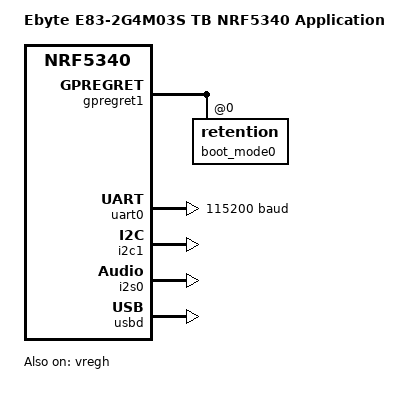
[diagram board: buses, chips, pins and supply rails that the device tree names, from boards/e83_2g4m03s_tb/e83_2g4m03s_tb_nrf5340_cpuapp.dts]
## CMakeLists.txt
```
# SPDX-License-Identifier: Apache-2.0

cmake_minimum_required(VERSION 3.20.0)

find_package(Zephyr REQUIRED HINTS $ENV{ZEPHYR_BASE})
project(le_audio_receiver)

if(NOT CONFIG_SOC_NRF54L15_CPUAPP)
  message(FATAL_ERROR "LE Audio Receiver supports only nRF54L15 cpuapp")
endif()

target_sources(app PRIVATE
  src/main.c
  src/app_lifecycle.c
  src/bt_bap.c
  src/bt_audio_ltv_guard.c
  src/bt_pairing_policy.c
  src/audio_decode.c
  src/audio_stream_session.c
  src/audio_i2s.c
  src/audio_drift.c
  src/audio_rate_convert.c
  src/audio_modea.c
  src/audio_iso_seq.c
  src/audio_stats.c
  src/audio_volume.c
  src/audio_timing_math.c
  src/stream_lifecycle.c
  src/audio_offload.c
)
target_link_options(app INTERFACE -Wl,--wrap=bt_audio_data_parse)

zephyr_sources_ifdef(CONFIG_AUDIO_PERF_MEASUREMENT src/audio_perf.c)

zephyr_sources_ifdef(CONFIG_HIL_HCI_REMOVE_ISO_PATH_TRACE src/hci_remove_iso_path_trace.c)

if(CONFIG_HIL_SDC_HCI_REMOVE_ISO_PATH_TRACE)
  target_sources(app PRIVATE src/sdc_hci_remove_iso_path_trace.c)
  target_link_options(app INTERFACE
    -Wl,--wrap=sdc_hci_cmd_le_remove_iso_data_path
    -Wl,--wrap=hci_internal_msg_get
    -Wl,--wrap=hci_internal_cmd_put
    -Wl,--wrap=multithreading_lock_release
    -Wl,--wrap=k_work_submit_to_queue
  )
  if(CONFIG_HIL_SDC_HCI_REMOVE_ISO_PATH_TRACE_SCHEDULER_UNLOCK)
    target_link_options(app INTERFACE
      -Wl,--wrap=k_sched_unlock
      -Wl,--wrap=z_impl_k_yield
    )
  endif()
  if(CONFIG_HIL_SDC_HCI_REMOVE_ISO_PATH_TRACE_RECEIVE_DISPOSITION)
    target_link_options(app INTERFACE
      -Wl,--wrap=bt_buf_get_evt
      -Wl,--wrap=bt_buf_get_rx
    )
  endif()
  if(CONFIG_HIL_SDC_HCI_REMOVE_ISO_PATH_TRACE_ISO_RX_LIFETIME)
    target_link_options(app INTERFACE
      -Wl,--wrap=net_buf_unref
    )
    if(CONFIG_HIL_SDC_HCI_REMOVE_ISO_PATH_TRACE_ISO_RX_LIFETIME_DISPOSITION)
      target_link_options(app INTERFACE
        -Wl,--wrap=bt_conn_recv
      )
      if(CONFIG_HIL_SDC_HCI_REMOVE_ISO_PATH_TRACE_ISO_RX_LIFETIME_TX_NOTIFY_FLUSH)
        target_link_options(app INTERFACE
          -Wl,--wrap=k_work_flush
        )
        if(CONFIG_HIL_SDC_HCI_REMOVE_ISO_PATH_TRACE_ISO_RX_LIFETIME_TX_NOTIFY_FLUSH_SEMAPHORE)
          target_link_options(app INTERFACE
            -Wl,--wrap=z_impl_k_sem_take
          )
          if(CONFIG_HIL_SDC_HCI_REMOVE_ISO_PATH_TRACE_ISO_RX_LIFETIME_TX_NOTIFY_FLUSH_SEMAPHORE_PEND)
            target_link_options(app INTERFACE
              -Wl,--wrap=z_pend_curr
            )
            if(CONFIG_HIL_SDC_HCI_REMOVE_ISO_PATH_TRACE_ISO_RX_LIFETIME_TX_NOTIFY_FLUSH_SEMAPHORE_PEND_SCHED_GIVE)
              target_link_options(app INTERFACE
                -Wl,--wrap=z_impl_k_sem_give
              )
            endif()
          endif()
        endif()
      endif()
    endif()
  endif()
endif()

zephyr_sources_ifdef(CONFIG_AUDIO_RESAMPLER_ASRC_LINEAR src/audio_asrc.c)
zephyr_sources_ifdef(CONFIG_AUDIO_CLOCK_ACTUATOR_NONE src/audio_clock_actuator_none.c)
zephyr_sources_ifdef(CONFIG_SOC_NRF54L15 src/audio_timing_nrf54.c)
zephyr_sources_ifdef(CONFIG_SHELL src/audio_shell.c)
zephyr_sources_ifdef(CONFIG_SHELL src/bt_shell.c)
zephyr_sources_ifdef(CONFIG_USER_PAIRING_CONTROL src/pairing_mode.c)
zephyr_sources_ifdef(CONFIG_USER_PAIRING_CONTROL src/bt_bap_pairing_adapter.c)
zephyr_sources_ifdef(CONFIG_USER_PAIRING_INPUT src/user_pairing_io.c)
# flpr_shell.c needs both SHELL and the nRF54L15 FLPR stack;
# zephyr_sources_ifdef accepts a single condition, so use an explicit
# if() with target_sources for the two-condition gate.
if(CONFIG_SHELL AND CONFIG_SOC_NRF54L15)
  target_sources(app PRIVATE src/flpr_shell.c)
endif()
zephyr_sources_ifdef(CONFIG_AUDIO_ACCEPTANCE_DIAGNOSTICS src/flpr_acceptance_shell.c)
# FLPR acceptance orchestration (ring test, stalls, stale produce,
# stress, fault hang, gates 1-6) — compiled only with the acceptance
# diagnostics config.  The shared control-ACK engine is production-neutral
# (used by the core coordinated reset) and compiles on every nRF54L15
# build, exactly like flpr_ring_mgr.c.
zephyr_sources_ifdef(CONFIG_AUDIO_ACCEPTANCE_DIAGNOSTICS src/flpr_acceptance.c)
zephyr_sources_ifdef(CONFIG_SOC_NRF54L15 src/flpr_control_ack.c)
zephyr_sources_ifdef(CONFIG_SOC_NRF54L15 src/flpr_handshake.c)
zephyr_sources_ifdef(CONFIG_SOC_NRF54L15 src/flpr_ring.c)
zephyr_sources_ifdef(CONFIG_SOC_NRF54L15 src/flpr_cache.c)
zephyr_sources_ifdef(CONFIG_SOC_NRF54L15 src/flpr_ring_mgr.c)
zephyr_sources_ifdef(CONFIG_SOC_NRF54L15 src/flpr_runtime.c)

# LSP compile-database link (R8/R9 clangd work): expose this image's
# compile_commands.json at the repo root for clangd's closest-ancestor
# discovery.  Guarded on CONFIG_SOC_NRF54L15 so only the production
# receiver target owns the root link.  file(CREATE_LINK) is idempotent; a
# reconfigure (--pristine included) re-creates it.  Other images create
# their own links in their app CMakeLists; BSim and tests/unit links
# are maintained by scripts/gen-lsp-links.sh (builds live outside the
# repo or in ephemeral dirs).
if(CONFIG_SOC_NRF54L15)
  file(CREATE_LINK
       "${CMAKE_BINARY_DIR}/compile_commands.json"
       "${CMAKE_CURRENT_SOURCE_DIR}/compile_commands.json"
       SYMBOLIC)
endif()

zephyr_library_include_directories(${ZEPHYR_BASE}/samples/bluetooth)
```

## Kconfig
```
mainmenu "LE Audio Receiver"

config INFO_REPORTING_INTERVAL
	int "Number of SDUs between log reports"
	default 0
	help
	  Set to 0 to disable periodic logging to avoid UART spam.

config BT_AUDIO_VOL_DEFAULT
	int "Default VCP volume level (0-255)"
	default 195
	range 0 255
	depends on BT_VCP_VOL_REND
	help
	  Initial volume applied by the VCP Volume Renderer at startup.
	  195 is approximately 76% of full scale.

config AUDIO_I2S_OUTPUT_SAMPLE_RATE_HZ
	int "Actual I2S output sample rate"
	default 48000
	range 1 192000
	help
	  Actual I2S LRCK frequency in Hz. The hardware divider may not
	  produce exactly 48000 (e.g. PCLK32M gives ~47619). Set this to
	  the measured hardware rate so the rate converter can match
	  decoder output to drain rate. The I2S config frame_clk_freq
	  stays at 48000 (the nominal requested rate).

config AUDIO_I2S_WRITE_TIMEOUT_MS
	int "I2S TX write timeout (ms)"
	default 0
	range 0 100
	help
	  This value bounds two independent backpressure points. The
	  struct i2s_config.timeout field bounds one i2s_write() when the TX
	  descriptor queue is full. Primary PCM slab allocation uses this
	  timeout only after DMA START and only in the started path. 0 means
	  no wait. Startup pre-fill and repeat fallback slab allocations always
	  use no wait. K_FOREVER is never used.

choice AUDIO_RESAMPLER
	prompt "Audio resampler"
	default AUDIO_RESAMPLER_ASRC_LINEAR
	help
	  Data-path resampler between decoder output (48 kHz) and I2S
	  drain. ASRC_LINEAR pairs with AUDIO_CLOCK_ACTUATOR_NONE.

config AUDIO_RESAMPLER_ASRC_LINEAR
	bool "Linear ASRC"
	help
	  Stateful cross-block fixed-point linear-interpolation stereo
	  ASRC.  Consumes drift-controller ppm as source_step correction.
	  Production path for nRF54L15.  Must pair with
	  AUDIO_CLOCK_ACTUATOR_NONE (ASRC handles the data path; no
	  physical actuator exists on this platform).
endchoice

choice AUDIO_CLOCK_ACTUATOR
	prompt "Audio clock actuator"
	default AUDIO_CLOCK_ACTUATOR_NONE

config AUDIO_CLOCK_ACTUATOR_NONE
	bool "None (data-path only)"
	help
	  No physical clock actuator.  Controller ppm is consumed by the
	  data-path resampler (ASRC_LINEAR).  Used on nRF54L15.
endchoice

config AUDIO_DRIFT_OUTPUT_CLAMP
	int "Controller output clamp (±ppm)"
	default 2000
	range 1 3000
	help
	  Maximum absolute ppm output from the PI clock recovery controller.
	  Default 2000 ppm for nRF54L15 ASRC, paired with the phase
	  integral clamp for headroom around the measured PCLK offset.

config AUDIO_DRIFT_PHASE_INTEGRAL_CLAMP
	int "Phase integral clamp (±ppm)"
	default 150
	range 1 2000
	help
	  Maximum absolute ppm the phase integral term can contribute.
	  Default 150 ppm so phase authority does not consume all
	  headroom around the measured PCLK offset.

config AUDIO_PERF_MEASUREMENT
	bool "Audio performance instrumentation"
	default n
	help
	  Low-overhead cycle and queue measurement for LC3 decode, volume,
	  sink push, and ISO receive paths.  Compiles to static inline
	  no-ops when disabled.  Exposed through "audio perf" shell command.

config AUDIO_PERF_DEADLINE_US
	int "Per-path deadline threshold in microseconds"
	default 10000
	depends on AUDIO_PERF_MEASUREMENT
	help
	  Deadline for per-path overrun counting.  Converted to CPU cycles
	  at runtime via k_us_to_cyc_ceil32().  Default 10000 us = 10 ms.
	  Works correctly across all platforms and native_sim.

config AUDIO_ACCEPTANCE_DIAGNOSTICS
	bool "FLPR acceptance diagnostics shell commands"
	default n
	depends on SOC_NRF54L15 && SHELL
	help
	  Gate the FLPR acceptance-harness shell commands (flpr ring *,
	  flpr stress, flpr hang) behind an explicit diagnostics option so
	  normal audio diagnostics never compile the acceptance harness.
	  Enabled in boards/nrf54l15dk_nrf54l15_cpuapp.conf. The FLPR-image
	  fault-handler gating is the separate
	  CONFIG_FLPR_ACCEPTANCE_DIAGNOSTICS option.

config HIL_BAP_ENABLE_TRACE
	bool "HIL BAP enable callback trace"
	default n
	depends on SOC_NRF54L15 && BT && LOG
	help
	  Temporary nRF54L15 HIL-only marker after the receiver stream enabled
	  callback returns from bt_bap_stream_start(). It records the stream slot
	  and return code for one pre-stream diagnostic branch. Keep disabled in
	  normal builds. It does not establish peer delivery, a root cause, or a
	  production repair.

config HIL_RX_TIMING_TRACE
	bool "HIL receiver RX delivery timing trace"
	default n
	depends on SOC_NRF54L15 && BT && BT_ISO && LOG
	help
	  Temporary nRF54L15 HIL-only diagnostic. Logs each ISO RX callback's
	  disposition and timing for the first N callbacks and then one
	  summary line per second of wall time: counts of valid/lost/error
	  callbacks and the receiver-clock timestamp of the last valid SDU.
	  Keep disabled in normal builds. It does not establish a root cause
	  or a repair.

config HIL_HCI_REMOVE_ISO_PATH_TRACE
	bool "HIL callback-timed HCI Remove ISO Path trace"
	default n
	depends on SOC_NRF54L15 && BT && LOG_RUNTIME_FILTERING
	help
	  Temporary HIL-only diagnostic. Arms the bt_hci_core and
	  bt_sdc_hci_driver runtime log sources at lc3_disable(). Keep this
	  option disabled in normal builds.

config HIL_SDC_HCI_REMOVE_ISO_PATH_TRACE
	bool "Temporary HIL-only SDC LE Remove ISO Data Path wrapper trace"
	default n
	depends on SOC_NRF54L15 && BT && BT_ISO && LOG
	depends on !HIL_HCI_REMOVE_ISO_PATH_TRACE
	help
	  Temporary HIL-only diagnostic. Wrap the SDC LE Remove ISO Data Path
	  call and emit low-volume entry and return markers for nRF54L15 HIL.
	  Keep this option disabled in normal builds. It cannot coexist with
	  the callback-timed HCI Remove ISO Path trace.

choice HIL_SDC_HCI_REMOVE_ISO_PATH_TRACE_PROBE
	prompt "SDC LE Remove ISO Data Path trace probe"
	default HIL_SDC_HCI_REMOVE_ISO_PATH_TRACE_WORK_STATE_SNAPSHOT
	depends on HIL_SDC_HCI_REMOVE_ISO_PATH_TRACE

config HIL_SDC_HCI_REMOVE_ISO_PATH_TRACE_WORK_STATE_SNAPSHOT
	bool "Work-state snapshot"
	help
	  Preserve the delayed MPSL work-state snapshot used by the existing
	  callback-timed HIL trace.

config HIL_SDC_HCI_REMOVE_ISO_PATH_TRACE_SCHEDULER_UNLOCK
	bool "Scheduler unlock"
	help
	  Record the sender thread after target receive-work submission and
	  trace its next scheduler unlock. The state marker records only MPSL
	  work-queue switch-ins observed while control is inside that exact
	  wrapped unlock window. A positive switch count does not prove that
	  the receive handler fetched the command. This probe must not schedule
	  any additional work.

config HIL_SDC_HCI_REMOVE_ISO_PATH_TRACE_RECEIVE_DISPOSITION
	bool "Receive disposition"
	help
	  Temporary HIL-only diagnostic. Record target-owned receive disposition
	  in the MPSL receive work context, without making a root-cause claim.
	  Normal builds keep this diagnostic disabled.
endchoice

config HIL_SDC_HCI_REMOVE_ISO_PATH_TRACE_ISO_RX_LIFETIME
	bool "ISO RX lifetime"
	default n
	depends on HIL_SDC_HCI_REMOVE_ISO_PATH_TRACE_RECEIVE_DISPOSITION
	depends on !NET_BUF_LOG
	help
	  Temporary nRF54L15 HIL-only diagnostic. Track host ISO RX
	  allocation and final-release occupancy. Requires the receive-
	  disposition trace and relies on ordinary net_buf_unref linkage, so
	  NET_BUF_LOG must remain off. Normal builds keep this diagnostic
	  disabled.

config HIL_SDC_HCI_REMOVE_ISO_PATH_TRACE_ISO_RX_LIFETIME_DISPOSITION
	bool "ISO RX lifetime disposition"
	default n
	depends on HIL_SDC_HCI_REMOVE_ISO_PATH_TRACE_ISO_RX_LIFETIME
	help
	  Temporary nRF54L15 HIL-only diagnostic. Record bounded host-dispatch
	  and app-callback progression for tracked ISO RX buffers at lifetime
	  snapshots. Wrap internal bt_conn_recv only for this exact NCS build.
	  This does not establish buffer ownership or queue location. Normal
	  builds keep this diagnostic disabled.

config HIL_SDC_HCI_REMOVE_ISO_PATH_TRACE_ISO_RX_LIFETIME_TX_NOTIFY_FLUSH
	bool "ISO RX lifetime TX-notify flush progression"
	default n
	depends on HIL_SDC_HCI_REMOVE_ISO_PATH_TRACE_ISO_RX_LIFETIME_DISPOSITION
	help
	  Temporary nRF54L15 HIL-only diagnostic. Observe k_work_flush()
	  while an HIL diagnostic bt_conn_recv() context is live for tracked
	  ISO RX buffers. This does not establish a work owner, blocking cause,
	  or repair. Normal builds keep this diagnostic disabled.

config HIL_SDC_HCI_REMOVE_ISO_PATH_TRACE_ISO_RX_LIFETIME_TX_NOTIFY_FLUSH_SEMAPHORE
	bool "ISO RX lifetime TX-notify flush semaphore progression"
	default n
	depends on HIL_SDC_HCI_REMOVE_ISO_PATH_TRACE_ISO_RX_LIFETIME_TX_NOTIFY_FLUSH
	help
	  Temporary nRF54L15 HIL-only diagnostic. Observe entry and return of the
	  exact matching generated z_impl_k_sem_take() reached by the scoped
	  k_work_flush() call. This does not establish that the semaphore pended,
	  identify work ownership, or authorize a repair. Normal builds keep this
	  diagnostic disabled.

config HIL_SDC_HCI_REMOVE_ISO_PATH_TRACE_ISO_RX_LIFETIME_TX_NOTIFY_FLUSH_SEMAPHORE_PEND
	bool "ISO RX lifetime TX-notify flush semaphore pend progression"
	default n
	depends on HIL_SDC_HCI_REMOVE_ISO_PATH_TRACE_ISO_RX_LIFETIME_TX_NOTIFY_FLUSH_SEMAPHORE
	help
	  Temporary nRF54L15 HIL-only diagnostic. Observe entry and return of the
	  exact matching z_pend_curr() wait queue selected after the scoped flusher
	  semaphore path. This does not establish a completed pend, work owner,
	  blocking cause, deadlock, or a production repair. Normal builds keep this
	  diagnostic disabled.

config HIL_SDC_HCI_REMOVE_ISO_PATH_TRACE_ISO_RX_LIFETIME_TX_NOTIFY_FLUSH_SEMAPHORE_PEND_SCHED_GIVE
	bool "ISO RX lifetime TX-notify flush semaphore pend scheduler and give progression"
	default n
	depends on HIL_SDC_HCI_REMOVE_ISO_PATH_TRACE_ISO_RX_LIFETIME_TX_NOTIFY_FLUSH_SEMAPHORE_PEND
	depends on TRACING_USER
	depends on TRACING_THREAD
	help
	  Temporary nRF54L15 HIL-only diagnostic. Observe only the H38-scoped user
	  scheduler-pend hook after a thread is marked pending, plus entry to the
	  exact captured flusher semaphore's generated give implementation. This
	  explicitly excludes wait-queue insertion, work ownership or execution,
	  wake completion, root cause, and repair claims. Normal builds keep this
	  diagnostic disabled.

# ── FLPR ASRC offload ──────────────────────────────────────────────

config AUDIO_OFFLOAD_ASRC
	bool "FLPR ASRC offload (nRF54L15 only)"
	default y
	depends on AUDIO_RESAMPLER_ASRC_LINEAR && SOC_NRF54L15
	help
	  Route decoded PCM through FLPR ASRC processing.  On success the
	  FLPR-processed output replaces the cpuapp ASRC; on any fault
	  the cpuapp ASRC runs as fallback with no audio drop.

	  Requires CONFIG_SOC_NRF54L15 + AUDIO_RESAMPLER_ASRC_LINEAR.

config AUDIO_OFFLOAD_ASRC_VERIFY
	bool "Shadow-verify FLPR ASRC against cpuapp ASRC"
	default n
	depends on AUDIO_OFFLOAD_ASRC
	help
	  After every FLPR ASRC round trip, run the identical cpuapp
	  ASRC from the same pre-state and ppm input into a static
	  481-frame buffer, then compare return code, frame count,
	  every sample, and post-state.

	  Mismatch records a verify fault, poisons offload, and returns
	  error with caller output untouched.  This adds ~1924 bytes of
	  static buffer and one cpuapp ASRC call per 10 ms block (≈13 klx
	  of fixed-point arithmetic).

	  Production builds must disable this option.  Development and
	  acceptance testing enable it for cross-validation.

config AUDIO_MODEA_MAX_FRAME_OCTETS
	int "Mode A pending frame block size (octets per mono frame)"
	default 120
	range 20 240
	help
	  Bounded compressed-SDU buffer size for one Mode A half frame
	  block held pending by the Mode A event assembler (audio_modea).
	  The receiver advertises 20..120 octets per frame at 48 kHz and
	  rejects any larger validated shape, so 120 covers every accepted
	  Mode A mono configuration; the range ceiling exists only so the
	  option can be raised without a code change.

config AUDIO_MODEA_PENDING_DEPTH
	int "Mode A pending halves per channel (fixed-depth queue)"
	default 2
	range 1 4
	help
	  Maximum unresolved half events buffered per Mode A channel by
	  the event assembler.  Depth 2 covers the measured <=1-event
	  cross-CIS callback skew plus single-SDU losses and a one-event
	  loss burst on one channel while the other keeps delivering.  A
	  third concurrent unresolved event on one channel (the other
	  channel stalled >=2 events) overflows: the oldest entry is
	  dropped and counted in the assembler stats (never silent).
	  Bounded static state; no heap.

config AUDIO_ISO_SEQ_MAX_CONCEAL
	int "Per-CIS omission concealment bound (omitted SDUs/events per delivered callback)"
	default 8
	range 1 64
	help
	  Shared bound for sequence- and timestamp-detected ISO omissions:
	  maximum SDUs/events concealed as PLC per delivered callback when
	  the ISO stack omits callbacks for lost events (historically observed
	  on the retired nRF5340 SW Split controller: no VALID and no LOST
	  callback for some lost events; not the active platform).
	  audio_iso_seq tracks each CIS's delivered
	  HCI packet sequence numbers and reports the omitted count when
	  the next callback's Packet_Sequence_Number jumps; audio_iso_cadence
	  tracks delivered ISO timestamps and reports the omitted count
	  when the timestamp advances by more than the SDU interval.  The
	  timestamp-cadence grid classification uses a clock/span-scaled
	  tolerance, not a fixed value: a 32 us base (one 32768 Hz tick
	  plus capture quantization) plus a combined worst-case SCA drift
	  budget (1000 ppm) over the spanned events, capped at a quarter
	  interval so the nearest-integer event count can never approach
	  half-interval ambiguity.  Note
	  that HCI packet sequence can stay CONTIGUOUS for controller-side
	  omission: SW Split advances its session sequence number only when
	  an SDU is emitted to the host, so a radio event with no received
	  PDU emits no HCI SDU and consumes no sequence number (FR4 mono
	  evidence: 12000 SDUs transmitted, 8876 callbacks, zero sequence
	  gaps, 225 I2S restarts).  The receive path conceals up to this
	  many omitted events as PLC before processing the current SDU,
	  taking the MAX of the sequence- and timestamp-derived counts so
	  one physical omission is never concealed twice, and keeping I2S
	  output cadence.

	  8 omitted SDUs = 80 ms at 10 ms frames, half the 16-block I2S
	  slab budget (~160 ms), so a bound-sized gap still fits the
	  audio buffering while the drift controller re-converges.  A
	  forward jump beyond this bound is treated as a discontinuity:
	  the trackers resync and the receive path logs the evidence
	  instead of synthesizing unbounded work (duplicates, backward
	  sequences, timestamp wraps are likewise explicit resync/wrap
	  outcomes).

# ── User pairing control (P1): portable pairing-mode transition owner ──

config USER_PAIRING_CONTROL
	bool "User pairing control (pairing-mode transition owner)"
	default n
	select EVENTS
	help
	  Portable NORMAL/BONDING/RESETTING transition owner
	  (src/pairing_mode.c).  Production boards enable this only when
	  the full feature stack (input/LED adapter, Bluetooth adapter,
	  lifecycle/shell integration) is wired — see
	  docs/development/user-pairing-control-plan.md.  P1 keeps every
	  production board config disabled.

config USER_PAIRING_BOND_HOLD_MS
	int "BONDING button-hold threshold (ms)"
	default 3000
	range 1 60000
	depends on USER_PAIRING_CONTROL
	help
	  Debounced button hold duration that requests BONDING.  Consumed
	  by the P2 input adapter; defined here so the relational timing
	  BUILD_ASSERTs (reset threshold > bonding threshold) can live in
	  the P1 controller.

config USER_PAIRING_RESET_HOLD_MS
	int "RESET button-hold threshold (ms)"
	default 8000
	range 1 120000
	depends on USER_PAIRING_CONTROL
	help
	  Debounced button hold duration that requests RESET.  Consumed
	  by the P2 input adapter; must exceed USER_PAIRING_BOND_HOLD_MS
	  (BUILD_ASSERT in src/pairing_mode.c).

config USER_PAIRING_BOND_LED_HALF_PERIOD_MS
	int "BONDING LED half-period (ms)"
	default 500
	range 1 60000
	depends on USER_PAIRING_CONTROL
	help
	  BONDING LED toggle interval: immediately active on entry, then
	  one toggle per half-period.

config USER_PAIRING_RESET_LED_HALF_PERIOD_MS
	int "RESET LED half-period (ms)"
	default 100
	range 1 60000
	depends on USER_PAIRING_CONTROL
	help
	  RESET feedback LED toggle interval.  USER_PAIRING_RESET_FEEDBACK_MS
	  must be divisible by this value with a quotient of at least two
	  (BUILD_ASSERT in src/pairing_mode.c).

config USER_PAIRING_RESET_FEEDBACK_MS
	int "RESET feedback indication duration (ms)"
	default 1000
	range 1 60000
	depends on USER_PAIRING_CONTROL
	help
	  Duration of the rapid LED indication after bonds are deleted and
	  before BONDING advertising starts.  At the production defaults
	  (1000 ms / 100 ms half-period) this produces five complete rapid
	  flashes.

config USER_PAIRING_WORKQ_STACK_SIZE
	int "Pairing-mode work-queue stack size (bytes)"
	default 2048
	range 1024 32768
	depends on USER_PAIRING_CONTROL
	help
	  Stack for the controller's private work queue thread.

config USER_PAIRING_WORKQ_PRIORITY
	int "Pairing-mode work-queue thread priority"
	default 5
	range 0 15
	depends on USER_PAIRING_CONTROL
	help
	  Priority of the controller's private work queue thread (lower
	  number = higher priority).

# ── User pairing control (P2): generic input and LED adapter ─────────

config USER_PAIRING_INPUT
	bool "User button and LED pairing control"
	default n
	depends on USER_PAIRING_CONTROL && INPUT
	depends on DT_HAS_GPIO_KEYS_ENABLED
	select GPIO
	help
	  Reusable user-button / user-LED pairing-control adapter
	  (src/user_pairing_io.c).  Hardware is selected only through the
	  'user-button' (child of a gpio-keys node) and 'user-led' (gpio-leds
	  child) devicetree aliases; no board-number conditionals.  The
	  gpio-keys driver owns debounce; this module schedules/cancels the
	  BONDING/RESET hold thresholds and forwards them to pairing_mode.
	  Production boards enable this only when the full feature stack is
	  wired — see docs/development/user-pairing-control-plan.md.  P2
	  keeps every production board config disabled.

config USER_PAIRING_DEBOUNCE_MS
	int "User pairing button debounce interval"
	default 30
	range 1 1000
	depends on USER_PAIRING_INPUT
	help
	  Board/devicetree contract value: the selected gpio-keys node's
	  resolved debounce-interval-ms must equal this value (BUILD_ASSERT
	  in src/user_pairing_io.c).  The gpio-keys driver implements the
	  debounce; this module adds no second debounce timer.

config USER_PAIRING_SHELL_RESET_TIMEOUT_MS
	int "Pairing reset shell timeout (ms)"
	default 15000
	range 1000 120000
	depends on USER_PAIRING_INPUT && SHELL
	help
	  Bounded synchronous wait for the 'bt unpair' RESET transition
	  (disconnect + 1-second feedback + BONDING advertising completion)
	  with ample controller margin.  On timeout the shell prints an
	  error and the transition continues asynchronously; success is
	  printed only after BONDING advertising is active.

source "Kconfig.zephyr"
```

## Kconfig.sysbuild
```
# SPDX-License-Identifier: Apache-2.0

# Disable partition manager — sysbuild multi-image domains use DTS-defined
# memory regions independently (cpuapp_sram, cpuflpr_sram, etc.).
config PARTITION_MANAGER
	default n if SOC_NRF54L15_CPUAPP

source "share/sysbuild/Kconfig"
```

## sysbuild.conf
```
SB_CONFIG_NET_CORE_IMAGE_HCI_IPC=y
```

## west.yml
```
manifest:
  self:
    path: app

  projects:
    - name: nrf
      url: https://github.com/nrfconnect/sdk-nrf
      revision: v3.3.0
      import: true
```

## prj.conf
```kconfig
CONFIG_BT=y
CONFIG_LOG=y
# ACL/ISO buffer sizes for the sink SDC controller
CONFIG_BT_BUF_EVT_RX_SIZE=255
CONFIG_BT_BUF_EVT_RX_COUNT=16
CONFIG_BT_BUF_ACL_RX_SIZE=255
CONFIG_BT_BUF_ACL_TX_SIZE=251
CONFIG_BT_BUF_CMD_TX_SIZE=255
CONFIG_BT_SETTINGS=y
CONFIG_SETTINGS=y
CONFIG_FLASH=y
CONFIG_FLASH_PAGE_LAYOUT=y
CONFIG_FLASH_MAP=y
CONFIG_ZMS=y
CONFIG_SETTINGS_ZMS=y

# Sink SDC controller TX buffer counts
CONFIG_BT_BUF_ACL_TX_COUNT=3
CONFIG_BT_CONN_TX_MAX=3
CONFIG_BT_ISO_TX_BUF_COUNT=1

CONFIG_BT_SMP=y
# Allow Just Works pairing (needed for LE Audio)
CONFIG_BT_SMP_APP_PAIRING_ACCEPT=y
# Disable MITM enforcement; Just Works is sufficient for sink device
CONFIG_BT_SMP_ENFORCE_MITM=n
# Bonded-only controller filter (pairing-mode filter): host rebuilds the
# controller filter accept list from persisted bonds at every advertising
# restart so unbonded devices cannot consume the single connection slot.
CONFIG_BT_FILTER_ACCEPT_LIST=y

CONFIG_BT_PACS_LOG_LEVEL_WRN=y
CONFIG_BT_ASCS_LOG_LEVEL_WRN=y
CONFIG_BT_BAP_UNICAST_SERVER_LOG_LEVEL_WRN=y
CONFIG_BT_BAP_STREAM_LOG_LEVEL_WRN=y
CONFIG_BT_ISO_LOG_LEVEL_WRN=y
CONFIG_LOG_PRINTK=y


CONFIG_BT_PERIPHERAL=y
CONFIG_BT_GAP_AUTO_UPDATE_CONN_PARAMS=n
CONFIG_BT_PERIPHERAL_PREF_MIN_INT=50
CONFIG_BT_PERIPHERAL_PREF_MAX_INT=70
CONFIG_BT_PERIPHERAL_PREF_LATENCY=0
CONFIG_BT_PERIPHERAL_PREF_TIMEOUT=400
CONFIG_BT_ISO_PERIPHERAL=y
CONFIG_UTF8=y
CONFIG_BT_AUDIO=y
CONFIG_BT_GATT_DYNAMIC_DB=y
CONFIG_BT_BAP_UNICAST_SERVER=y
CONFIG_BT_ASCS=y
CONFIG_BT_PAC_SNK=y
CONFIG_BT_PAC_SNK_LOC=y
CONFIG_BT_ASCS_MAX_ASE_SNK_COUNT=2
CONFIG_BT_ASCS_MAX_ASE_SRC_COUNT=0
CONFIG_BT_ISO_MAX_CHAN=4
CONFIG_BT_AUDIO_CODEC_CFG_MAX_METADATA_SIZE=16
CONFIG_BT_AUDIO_CODEC_CFG_MAX_DATA_SIZE=32
CONFIG_BT_ATT_PREPARE_COUNT=2
CONFIG_BT_EXT_ADV=y
CONFIG_BT_DEVICE_NAME="LE Audio Receiver"

CONFIG_BT_ISO_RX_MTU=255
CONFIG_BT_ISO_RX_BUF_COUNT=6

CONFIG_SPEED_OPTIMIZATIONS=y
CONFIG_FPU=y
CONFIG_LIBLC3=y
CONFIG_BT_RX_STACK_SIZE=4096

CONFIG_I2S=y
CONFIG_I2S_NRFX=y
CONFIG_I2S_NRFX_TX_BLOCK_COUNT=15
CONFIG_I2S_LOG_LEVEL_WRN=y

CONFIG_LOG_BACKEND_SHOW_COLOR=n
CONFIG_ASSERT=y
CONFIG_LOG_MODE_DEFERRED=y
CONFIG_LOG_BUFFER_SIZE=4096

# Volume Control Profile (VCP) — client-controlled volume
CONFIG_BT_VCP_VOL_REND=y

# Common Audio Service (CAS) disabled — avoids CAP acceptor context check
# during ASE Enable. The receiver manages available contexts via
# bt_pacs_set_available_contexts() directly (see src/bt_bap.c).
# CONFIG_BT_CAP_ACCEPTOR=y would register CAS and reject ASE Enable
# when contexts are unavailable. Not needed for this sink.
CONFIG_BT_CAP_ACCEPTOR=n

# Shell over UART for live diagnostics and scripted testing
CONFIG_SHELL=y
CONFIG_SHELL_BACKEND_SERIAL=y
CONFIG_SHELL_STACK_SIZE=2048

# Entropy - use simple source, avoid Cryptocell dependency
CONFIG_ENTROPY_GENERATOR=y
CONFIG_ENTROPY_DEVICE_RANDOM_GENERATOR=y

# Watchdog — 5 s timeout, fed every 2 s from dedicated thread
CONFIG_WATCHDOG=y
# Watchdog drivers may be unavailable when SDC/MPSL owns the
# nRF54L15 watchdog peripherals (wdt30/wdt31 disabled in DT).

# Stack overflow detection during development
CONFIG_STACK_SENTINEL=y

# Reboot support for board identification fallback
CONFIG_REBOOT=y
```

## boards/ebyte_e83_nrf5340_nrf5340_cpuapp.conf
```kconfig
# Ebyte E83-2G4M03S nRF5340 app core — board-specific Kconfig.
# Auto-discovered by Zephyr for the ebyte_e83_nrf5340/nrf5340/cpuapp target.

# I2S0 runs without MCK (CJMCU-1334 / UDA1334A uses its internal PLL to lock
# to BCLK). Not applicable on nRF54L15 (no HFCLKAUDIO) — keep here, out of
# the shared prj.conf, so the nRF54L15 build does not emit a Kconfig warning.
CONFIG_I2S_NRFX_ALLOW_MCK_BYPASS=y

# NRF WDT driver — nRF5340 has wdt with status="okay" in DT.
# nRF54L15 has wdt30/wdt31 both disabled in DT when SDC/MPSL is in use,
# so this symbol must be board-specific to avoid a Kconfig warning there.
CONFIG_WDT_NRFX=y

# Phase 5: identity resampler (memcpy passthrough) + APLL actuator.
# APLL handles clock drift at the hardware level.
CONFIG_AUDIO_RESAMPLER_IDENTITY=y
CONFIG_AUDIO_CLOCK_ACTUATOR_APLL=y

# System workqueue stack 2048 bytes (FR4 hardware fault fix).
# Hardware evidence: fresh strict-mono stream establishment on nRF5340 hit
# `USAGE FAULT` / `Stack overflow (context area not valid)` / ZEPHYR FATAL
# ERROR 2 on `sysworkq` with the 1024-byte resolved stack, at the fresh
# Config/QoS transition before Enable/ISO callback.
# Selected budget: 2048 bytes (1 KB cost; observed 448 KB RAM region at
# 31.67 % used, ample headroom).  Conservative smallest doubling and matches
# the nRF54L15 target, which already resolves 2048 and needs no config change.
CONFIG_SYSTEM_WORKQUEUE_STACK_SIZE=2048
```

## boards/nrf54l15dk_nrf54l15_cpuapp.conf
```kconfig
# nRF54L15 — single-core, SDC on cpuapp.
# Reference: ~/ncs/v3.3.0/nrf/samples/bluetooth/iso_time_sync

# NCS 3.4.1: unused deprecated platform alias; SOC_SERIES_NRF54L remains enabled.
CONFIG_NRF_PLATFORM_LUMOS=n

# RF antenna switch power/control for Xiao nRF54L15 ceramic antenna.
# Drives P2.03 high (rfsw_pwr) and P2.05 low (rfsw_ctl) at boot
# before Bluetooth starts via the regulator-fixed nodes in the
# devicetree overlay. Without this, antenna path is open → ~-96 dBm.
CONFIG_REGULATOR=y
CONFIG_REGULATOR_FIXED_INIT_PRIORITY=45

# Sink-only: RX buffers matter, TX counts irrelevant.
CONFIG_BT_BUF_ACL_TX_COUNT=3
CONFIG_BT_CONN_TX_MAX=3
CONFIG_BT_ISO_TX_BUF_COUNT=1
CONFIG_BT_ISO_RX_BUF_COUNT=3
CONFIG_BT_ISO_RX_MTU=251

# A receiver 7.5 ms Mode B teardown left BT RX waiting for TX notify work
# queued on sysworkq while sysworkq waited for the HCI remove-ISO-path reply.
# Select NCS v3.4.1's separate (experimental) TX notify workqueue to isolate
# that dependency. One frozen diagnostic row passed; keep its warning visible.
# Evidence:
# docs/development/nrf54l15-tx-notify-workqueue-results-20260928.md.
CONFIG_BT_CONN_TX_NOTIFY_WQ=y
CONFIG_BT_CONN_TX_NOTIFY_WQ_STACK_SIZE=1536
CONFIG_BT_CONN_TX_NOTIFY_WQ_PRIO=8
CONFIG_WARN_EXPERIMENTAL=y

# SDC controller defaults are fine for unicast sink, except the ISO TX HCI
# buffer count: SDC defaults to 3 but we are sink-only (1 TX context).
# Match them to silence the boot warning and avoid over-allocating.
CONFIG_BT_CTLR_SDC_ISO_TX_HCI_BUFFER_COUNT=1

# Phase 5 production: linear ASRC handles rate mismatch + drift ppm.
# Actuator NONE — no HFCLKAUDIO on nRF54L15; ASRC consumes ppm directly.
CONFIG_AUDIO_RESAMPLER_ASRC_LINEAR=y
CONFIG_AUDIO_CLOCK_ACTUATOR_NONE=y

# Route decoded PCM through FLPR ASRC.
# On any fault, cpuapp ASRC runs as fallback with no audio drop.
CONFIG_AUDIO_OFFLOAD_ASRC=y

# Actual I2S LRCK with PCLK32M clock source (measured ~47619 Hz).
CONFIG_AUDIO_I2S_OUTPUT_SAMPLE_RATE_HZ=47619

# A 20 ms bound covers I2S descriptor-queue backpressure plus
# post-start primary slab exhaustion. The 20 ms window covers one
# maximum ~10.1 ms 481-frame block plus scheduling margin. Startup
# pre-fill and repeat fallback allocations remain no-wait.
CONFIG_AUDIO_I2S_WRITE_TIMEOUT_MS=20

# nrfx drivers for GRTC+GPPI hardware timing measurement.
CONFIG_NRFX_GPPI=y
CONFIG_NRFX_GRTC=y

# PI controller clamps for nRF54L15.
# 2000 ppm output + 150 ppm phase authority leaves headroom around
# the measured ~+1775 ppm PCLK offset.
CONFIG_AUDIO_DRIFT_OUTPUT_CLAMP=2000
CONFIG_AUDIO_DRIFT_PHASE_INTEGRAL_CLAMP=150

# Enable performance instrumentation.
CONFIG_AUDIO_PERF_MEASUREMENT=y

# ── FLPR IPC (boot handshake transport) ──
CONFIG_IPC_SERVICE=y
CONFIG_MBOX=y
# SRAM budget: CONFIG_HEAP_MEM_POOL_SIZE reduced 4096 → 0 (proven
# unused). Resolved-build map evidence: the only k_malloc/k_heap_alloc
# consumer linked into the nRF54L15 app is zephyr/lib/net_buf buf.c,
# and net_buf's heap data allocator (net_buf_heap_cb) is compiled only
# under K_HEAP_MEM_POOL_SIZE > 0 and is referenced by NO net_buf pool
# in the build (all BT pools are fixed-size); shell history uses its own
# dedicated K_HEAP_DEFINE (CONFIG_SHELL_HISTORY_BUFFER), not the system
# heap. No other object references k_malloc/k_free/_k_sys_heap (map
# grep). With the heap at 0 the net_buf heap path is not even compiled.
# P8 hardware acceptance re-checked runtime (no allocation failure
# across all streams); the build contract pins
# CONFIG_HEAP_MEM_POOL_SIZE=0.
CONFIG_HEAP_MEM_POOL_SIZE=0
# PBUF read buffer must be large enough to drain accumulated messages.
# Default 128 is too small after >16 heartbeats at 1 Hz.
CONFIG_PBUF_RX_READ_BUF_SIZE=512

# Memory layout fix: ICMsg shared region at 0x20028000..0x20030000
# is now above CPUAPP SRAM (0x20000000..0x20028000). The previous
# region at 0x20018000 overlapped CPUAPP .noinit/Bluetooth allocations.
# With non-overlapping memory, the ICMsg PBUF assertion should not fire.
# CONFIG_ASSERT=y is the global default (prj.conf).

# FLPR acceptance-harness shell commands (flpr ring *, flpr stress,
# flpr hang) are gated behind CONFIG_AUDIO_ACCEPTANCE_DIAGNOSTICS so
# normal audio diagnostics never compile the acceptance harness.
CONFIG_AUDIO_ACCEPTANCE_DIAGNOSTICS=y

# ── User pairing control (P6) ──
# Full feature stack enabled on the production XIAO target.
# Hardware is selected by the devicetree aliases in the nRF54L15
# overlay: user-button = P0.00 (pull-up, active-low), user-led = P2.00
# (active-low). gpio-keys owns the 30 ms debounce.
CONFIG_USER_PAIRING_CONTROL=y
CONFIG_USER_PAIRING_INPUT=y
# INPUT=y is the mandatory subsystem dependency of USER_PAIRING_INPUT
# (menuconfig, default n, nothing selects it; the gpio-keys driver
# INPUT_GPIO_KEYS only selects GPIO). Without it Kconfig warns
# "assigned the value 'y' but got the value 'n'" and the build-contract
# INPUT=y assertion fails.
CONFIG_INPUT=y
CONFIG_USER_PAIRING_DEBOUNCE_MS=30
CONFIG_USER_PAIRING_SHELL_RESET_TIMEOUT_MS=15000
# Dedicated pairing work-queue stack, 1536 B.  P8 hardware originally
# validated 1024 (usage 640/1024 (62 %) at idle), but FR4 cadence
# hardware measured a pre-fix high-water of 1012/1024 (98 %, 12 B
# unused) on this queue, which is not acceptable margin for the
# RESET/BONDING/feedback/blink/security/advertising transition work it
# owns.  1536 makes the observed high-water about 66 % of the stack,
# restoring an expected 524 B margin.  RAM headroom: nRF54L15 cpuapp
# used 161084 B of 160 KB (98.32 %) before this change, leaving 2756 B;
# the extra 512 B leaves about 2244 B before alignment/build variation.
# 2048 would consume another full kilobyte without need.
CONFIG_USER_PAIRING_WORKQ_STACK_SIZE=1536
```

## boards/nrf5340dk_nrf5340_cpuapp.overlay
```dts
/*
 * Copyright (c) 2021 Nordic Semiconductor ASA
 * SPDX-License-Identifier: Apache-2.0
 */

&pinctrl {
	/* UART0 pins remapped to E83-2G4M03S-TB CH340X wiring:
	 * TX=P0.20, RX=P0.22, CTS=P0.21 */
	e83_uart0_default: e83_uart0_default {
		group1 {
			psels = <NRF_PSEL(UART_TX, 0, 20)>,
				<NRF_PSEL(UART_CTS, 0, 21)>;
		};
		group2 {
			psels = <NRF_PSEL(UART_RX, 0, 22)>;
			bias-pull-up;
		};
	};
	e83_uart0_sleep: e83_uart0_sleep {
		group1 {
			psels = <NRF_PSEL(UART_TX, 0, 20)>,
				<NRF_PSEL(UART_RX, 0, 22)>,
				<NRF_PSEL(UART_CTS, 0, 21)>;
			low-power-enable;
		};
	};

	i2s0_default: i2s0_default {
		group1 {
			psels = <NRF_PSEL(I2S_SCK_M, 1, 15)>,
				<NRF_PSEL(I2S_LRCK_M, 1, 12)>,
				<NRF_PSEL(I2S_SDOUT, 1, 13)>;
		};
	};
	i2s0_sleep: i2s0_sleep {
		group1 {
			psels = <NRF_PSEL(I2S_SCK_M, 1, 15)>,
				<NRF_PSEL(I2S_LRCK_M, 1, 12)>,
				<NRF_PSEL(I2S_SDOUT, 1, 13)>;
			low-power-enable;
		};
	};
};

&clock {
	hfclkaudio-frequency = <12288000>;
};

/ {
	aliases {
		i2s-audio = &i2s0;
	};
};

&uart0 {
	pinctrl-0 = <&e83_uart0_default>;
	pinctrl-1 = <&e83_uart0_sleep>;
	pinctrl-names = "default", "sleep";
};

&i2s0 {
	compatible = "nordic,nrf-i2s";
	status = "okay";
	pinctrl-0 = <&i2s0_default>;
	pinctrl-1 = <&i2s0_sleep>;
	pinctrl-names = "default", "sleep";
};

/* Ebyte E83 module has no external QSPI flash */
&qspi {
	status = "disabled";
};
```

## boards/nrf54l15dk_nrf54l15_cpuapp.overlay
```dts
/*
 * Copyright (c) 2025
 * SPDX-License-Identifier: Apache-2.0
 *
 * Seeed Xiao nRF54L15 overrides for the stock nrf54l15dk board target.
 * The Xiao's onboard SAMD11 CMSIS-DAP bridges UART20 (P1.9 TX / P1.8 RX)
 * to the USB CDC serial port. The stock DK uses P1.4/P1.5, so we remap
 * uart20 here to get console output over the Xiao's USB port.
 *
 * I2S20 pins: SCK=P1.4 (D0), LRCK=P1.5 (D1), SDOUT=P1.6 (D2).
 * These are the only three free Xiao header pins on GPIO port 1.
 * The previous assignment (P1.10/P1.11/P1.12) collided silently with
 * pwm20 (P1.10, enabled on the stock nrf54l15dk) and pdm20 (P1.12,
 * enabled via dmic_dev). Zephyr does not detect pinctrl overlaps —
 * last peripheral to init a contested pin wins, the loser silently
 * corrupts. P1.8/P1.9 are the UART20 lines to the SAMD11 USB bridge
 * and must stay untouched.
 *
 * PDM20 (onboard mic) is disabled — this is a sink-only receiver.
 */

/ {
	aliases {
		i2s-audio = &i2s20;
		user-button = &button0;
		user-led = &led0;
		/* The inherited DK aliases led1/led2/led3 point at nodes this
		 * overlay /delete-node/s; drop them or dtc fails on the
		 * dangling label references. */
		/delete-property/ led1;
		/delete-property/ led2;
		/delete-property/ led3;
	};

	buttons {
		debounce-interval-ms = <30>;
	};

	/*
	 * RF antenna switch for the Xiao nRF54L15 ceramic antenna.
	 * These fixed regulators drive the onboard RF switch:
	 *   rfsw_ctl: P2.05 active-low  → selects ceramic antenna
	 *   rfsw_pwr: P2.03 active-high → powers antenna path
	 * Without these, the antenna path is open and Bluetooth range
	 * collapses to ~ -96 dBm at 0.5 m (stock DK has no RF switch).
	 * Definitions match the official Seeed Xiao board.
	 */
	rfsw_ctl: rfsw-ctl {
		compatible = "regulator-fixed";
		regulator-name = "rfsw-ctl";
		enable-gpios = <&gpio2 5 GPIO_ACTIVE_LOW>;
		regulator-boot-on;
	};

	rfsw_pwr: rfsw-pwr {
		compatible = "regulator-fixed";
		regulator-name = "rfsw-pwr";
		enable-gpios = <&gpio2 3 GPIO_ACTIVE_HIGH>;
		regulator-boot-on;
	};
};

/*
 * User pairing controls (P6): map the Seeed XIAO onboard user button and
 * LED through the project aliases consumed by CONFIG_USER_PAIRING_INPUT.
 *
 * XIAO reference (zephyr/boards/seeed/xiao_nrf54l15/xiao_nrf54l15_common.dtsi):
 *   user button: P0.00, pull-up, active-low
 *   user LED:    P2.00, active-low
 * We keep the inherited button0 zephyr,code = <INPUT_KEY_0> (P2 reads only
 * the event code, not the physical button identity); sw0 and
 * mcuboot-button0 therefore also resolve to the physical XIAO button.
 *
 * The stock DK gpio-keys children button1 (P1.09) and button2 (P1.08)
 * collide with the XIAO UART20 bridge lines and must stay disabled;
 * button3 (P0.04) is unused. gpio-keys uses
 * DT_INST_FOREACH_CHILD_STATUS_OKAY, so disabling is sufficient there.
 *
 * gpio-leds uses ALL children regardless of status, so the inherited
 * led1/led2/led3 must be /delete-node/, not merely disabled, or the
 * LED_GPIO driver still configures their pins.
 */
&button0 {
	gpios = <&gpio0 0 (GPIO_PULL_UP | GPIO_ACTIVE_LOW)>;
};

&button1 {
	status = "disabled";
};

&button2 {
	status = "disabled";
};

&button3 {
	status = "disabled";
};

&led0 {
	gpios = <&gpio2 0 GPIO_ACTIVE_LOW>;
};

/delete-node/ &led1;
/delete-node/ &led2;
/delete-node/ &led3;

&pinctrl {
	uart20_default: uart20_default {
		group1 {
			psels = <NRF_PSEL(UART_TX, 1, 9)>;
		};
		group2 {
			psels = <NRF_PSEL(UART_RX, 1, 8)>;
			bias-pull-up;
		};
	};

	uart20_sleep: uart20_sleep {
		group1 {
			psels = <NRF_PSEL(UART_TX, 1, 9)>,
				<NRF_PSEL(UART_RX, 1, 8)>;
			low-power-enable;
		};
	};

	i2s20_default: i2s20_default {
		group1 {
			/* SCK_M, LRCK_M, SDOUT on Xiao D0/D1/D2.
			 * MCK routed to D3 (P1.7) even though the UDA1334A/PCM5102A
			 * DAC doesn't use it (internal PLL from BCK). The nRF54L15
			 * I2S peripheral needs a real MCK PSEL connected for the MCK
			 * generator to run and derive SCK/LRCK — without an MCK pin
			 * the master-mode transfer never progresses (DMA slab fills,
			 * no SCK/LRCK on the pins). D3 is a free Xiao header pin on
			 * the same GPIO port 1.
			 */
			psels = <NRF_PSEL(I2S_SCK_M,  1, 4)>,
				<NRF_PSEL(I2S_LRCK_M, 1, 5)>,
				<NRF_PSEL(I2S_SDOUT,  1, 6)>,
				<NRF_PSEL(I2S_MCK,    1, 7)>;
		};
	};
};

&uart20 {
	pinctrl-0 = <&uart20_default>;
	pinctrl-1 = <&uart20_sleep>;
	pinctrl-names = "default", "sleep";
};

&i2s20 {
	status = "okay";
	/* nRF54L15 has no HFCLKAUDIO/APLL. The I2S MCK is derived from
	 * PCLK32M. Use the internal 32 MHz RC (HFINT) directly rather than
	 * PCLK32M_HFXO so the driver does not wait on an HFXO onoff
	 * request before starting the transfer — that onoff path never
	 * completes on this board (no LFCLK for the onoff manager before
	 * SDC is up) and TASKS_START never fires, leaving SCK/LRCK flat
	 * and the TX slab filling with undelivered buffers.
	 *
	 * Clock accuracy/jitter is HFINT-grade (RC, ~±250 ppm), which is
	 * fine for the ASRC drift actuator; an external
	 * low-jitter MCK is not wired on the Xiao.
	 */
	clock-source = "PCLK32M";
	pinctrl-0 = <&i2s20_default>;
	pinctrl-names = "default";
};

&pdm20 {
	status = "disabled";
};

/* Xiao has no external SPI NOR flash. Disable the stock-DK &mx25r64 and
 * its parent &spi00 (no other users) to silence the boot error:
 *   <err> spi_nor: Device id 00 00 00 does not match config c2 28 17
 *
 * TIMER20 (&timer20, reg = <0xca000 0x1000>) is reserved for direct HAL
 * use by audio_timing_nrf54.c: free-running PCLK timer, hardware-snapshotted
 * by GRTC compare→GPPI→TASKS_CAPTURE at 1-second intervals. The base DTS
 * defines it with status "disabled". Mark it "reserved" so no Zephyr counter
 * driver binds to it, but it remains addressable via DT_NODELABEL(timer20) /
 * DT_REG_ADDR for our HAL code.
 */
&timer20 {
	status = "reserved";
};

&mx25r64 {
	status = "disabled";
};

/*
 * FLPR IPC: ICMsg over VEVIF for cpuapp↔FLPR handshake.
 * Shared memory at 0x20028000..0x20030000 (32 KB between cpuapp and FLPR SRAM).
 * rx = 8 KB at 0x20028000, tx = 8 KB at 0x2002A000.
 * Must stay in sync with src/flpr/boards/*.overlay (swapped perspective).
 */
/ {
	reserved-memory {
		#address-cells = <1>;
		#size-cells = <1>;
		ranges;

		sram_rx: memory@20028000 {
			reg = <0x20028000 0x2000>;
		};

		sram_tx: memory@2002A000 {
			reg = <0x2002A000 0x2000>;
		};

		/* PCM rings: 16 KiB at 0x2002C000.
		 * Split into two 8 KiB SPSC rings:
		 *   cpuapp_to_flpr_ring: 0x2002C000
		 *   flpr_to_cpuapp_ring: 0x2002E000
		 */
		pcm_ring: memory@2002C000 {
			reg = <0x2002C000 0x4000>;
		};
	};

	ipc {
		ipc0: ipc0 {
			compatible = "zephyr,ipc-icmsg";
			dcache-alignment = <32>;
			tx-region = <&sram_tx>;
			rx-region = <&sram_rx>;
			mboxes = <&cpuapp_vevif_rx 20>, <&cpuapp_vevif_tx 21>;
			mbox-names = "rx", "tx";
			status = "okay";
		};
	};
};

&cpuapp_vevif_rx {
	status = "okay";
};

&cpuapp_vevif_tx {
	status = "okay";
};

&spi00 {
	status = "disabled";
};

/*
 * Xiao nRF54L15 uses 16 pF internal load capacitance for both LFXO
 * and HFXO. The stock DK settings (inherited from nrf54l15dk) are
 * 17 pF LFXO / 15 pF HFXO — wrong for the Xiao PCB.
 * Match the official Seeed Xiao board definition.
 */
&lfxo {
	load-capacitors = "internal";
	load-capacitance-femtofarad = <16000>;
	status = "okay";
};

&hfxo {
	load-capacitors = "internal";
	load-capacitance-femtofarad = <16000>;
	status = "okay";
};
```

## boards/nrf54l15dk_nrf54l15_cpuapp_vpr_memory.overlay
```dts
/*
 * Copyright (c) 2025
 * SPDX-License-Identifier: Apache-2.0
 *
 * Override nordic-flpr snippet memory layout for nRF54L15.
 * Applied AFTER the snippet via sysbuild add_overlay_dts.
 *
 * Physical SRAM (256 KB at 0x20000000):
 *   0x20000000..0x20028000  cpuapp SRAM          (160 KB)
 *   0x20028000..0x20030000  shared IPC/ICMsg     ( 32 KB)
 *   0x20030000..0x20040000  FLPR execution SRAM  ( 64 KB)
 *
 * The nordic-flpr snippet defines cpuflpr_sram_code_data at 0x20028000
 * with 96 KB. Delete and redeclare it at 0x20030000 with 64 KB so the
 * shared IPC region is clear.
 */

/delete-node/ &cpuflpr_sram_code_data;

/ {
	reserved-memory {
		cpuflpr_code_partition: image@165000 {
			reg = <0x165000 DT_SIZE_K(96)>;
		};
	};

	soc {
		/delete-node/ reserved-memory;

		cpuflpr_sram_code_data: memory@20030000 {
			compatible = "mmio-sram";
			reg = <0x20030000 DT_SIZE_K(64)>;
			#address-cells = <1>;
			#size-cells = <1>;
			ranges = <0x0 0x20030000 0x10000>;
		};
	};
};

/* Ensure cpuapp_sram stays at 160 KB (ending before shared IPC). */
&cpuapp_sram {
	reg = <0x20000000 DT_SIZE_K(160)>;
	ranges = <0x0 0x20000000 0x28000>;
};
```

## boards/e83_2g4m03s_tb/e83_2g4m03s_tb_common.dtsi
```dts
/*
 * Copyright (c) 2020 Nordic Semiconductor ASA
 *
 * SPDX-License-Identifier: Apache-2.0
 *
 * E83-2G4M03S Test Board (10414-PCB-V1.2) — shared peripherals across cores.
 *
 * This board has no LEDs, no buttons (except HW RESET), no Arduino header,
 * and no QSPI flash. The 32.768 kHz crystal uses external 12 pF load caps.
 */

/ {
	aliases {
		watchdog0 = &wdt0;
	};
};
```

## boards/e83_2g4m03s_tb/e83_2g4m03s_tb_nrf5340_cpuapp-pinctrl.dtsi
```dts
/*
 * Copyright (c) 2022 Nordic Semiconductor
 * SPDX-License-Identifier: Apache-2.0
 *
 * E83-2G4M03S Test Board (10414-PCB-V1.2) — application core pin control.
 *
 * UART0:  P0.20 TXD, P0.22 RXD, P0.21 CTS (CH340X USB-UART bridge)
 * I2S0:   P1.15 BCK, P1.13 DIN, P1.12 LRCK (CJMCU-1334 DAC)
 * I2C1:   P1.02 SCL, P1.03 SDA (available on P2 header for codec control)
 */

&pinctrl {
	uart0_default: uart0_default {
		group1 {
			psels = <NRF_PSEL(UART_TX, 0, 20)>;
		};

		group2 {
			psels = <NRF_PSEL(UART_RX, 0, 22)>,
				<NRF_PSEL(UART_CTS, 0, 21)>;
			bias-pull-up;
		};
	};

	uart0_sleep: uart0_sleep {
		group1 {
			psels = <NRF_PSEL(UART_RX, 0, 22)>,
				<NRF_PSEL(UART_CTS, 0, 21)>;
			low-power-enable;
		};

		group2 {
			psels = <NRF_PSEL(UART_TX, 0, 20)>;
			low-power-enable;
			bias-pull-up;
		};
	};

	i2s0_default: i2s0_default {
		group1 {
			psels = <NRF_PSEL(I2S_SCK_M, 1, 15)>,
				<NRF_PSEL(I2S_LRCK_M, 1, 12)>,
				<NRF_PSEL(I2S_SDOUT, 1, 13)>;
		};
	};

	i2s0_sleep: i2s0_sleep {
		group1 {
			psels = <NRF_PSEL(I2S_SCK_M, 1, 15)>,
				<NRF_PSEL(I2S_LRCK_M, 1, 12)>,
				<NRF_PSEL(I2S_SDOUT, 1, 13)>;
			low-power-enable;
		};
	};

	i2c1_default: i2c1_default {
		group1 {
			psels = <NRF_PSEL(TWIM_SDA, 1, 3)>,
				<NRF_PSEL(TWIM_SCL, 1, 2)>;
		};
	};

	i2c1_sleep: i2c1_sleep {
		group1 {
			psels = <NRF_PSEL(TWIM_SDA, 1, 3)>,
				<NRF_PSEL(TWIM_SCL, 1, 2)>;
			low-power-enable;
		};
	};
};
```

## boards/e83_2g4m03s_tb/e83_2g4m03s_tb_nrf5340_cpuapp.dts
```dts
/*
 * Copyright (c) 2020-2025 Nordic Semiconductor ASA
 *
 * SPDX-License-Identifier: Apache-2.0
 *
 * E83-2G4M03S Test Board (10414-PCB-V1.2) — Application core
 */

/dts-v1/;
#include <nordic/nrf5340_cpuapp_qkaa.dtsi>
#include "e83_2g4m03s_tb_common.dtsi"
#include "e83_2g4m03s_tb_nrf5340_cpuapp-pinctrl.dtsi"

/ {
	model = "Ebyte E83-2G4M03S TB NRF5340 Application";
	compatible = "ebyte,e83-2g4m03s-tb-nrf5340-cpuapp";

	chosen {
		zephyr,sram = &sram0_image;
		zephyr,flash = &flash0;
		zephyr,code-partition = &slot0_partition;
		zephyr,sram-secure-partition = &sram0_s;
		zephyr,sram-non-secure-partition = &sram0_ns;
		zephyr,console = &uart0;
		zephyr,shell-uart = &uart0;
		zephyr,uart-mcumgr = &uart0;
		zephyr,bt-mon-uart = &uart0;
		zephyr,bt-c2h-uart = &uart0;
		zephyr,bt-hci = &bt_hci_ipc0;
		zephyr,boot-mode = &boot_mode0;
	};

	aliases {
		i2s-audio = &i2s0;
	};
};

&gpregret1 {
	status = "okay";

	boot_mode0: boot_mode@0 {
		compatible = "zephyr,retention";
		status = "okay";
		reg = <0x0 0x1>;
	};
};

&vregmain {
	regulator-initial-mode = <NRF5X_REG_MODE_DCDC>;
};

&vregradio {
	regulator-initial-mode = <NRF5X_REG_MODE_DCDC>;
};

&vregh {
	status = "okay";
};

&lfxo {
	load-capacitors = "external";
};

&gpiote {
	status = "okay";
};

&gpio0 {
	status = "okay";
};

&gpio1 {
	status = "okay";
};

&uart0 {
	status = "okay";
	current-speed = <115200>;
	pinctrl-0 = <&uart0_default>;
	pinctrl-1 = <&uart0_sleep>;
	pinctrl-names = "default", "sleep";
};

&i2c1 {
	compatible = "nordic,nrf-twim";
	status = "okay";
	pinctrl-0 = <&i2c1_default>;
	pinctrl-1 = <&i2c1_sleep>;
	pinctrl-names = "default", "sleep";
};

&i2s0 {
	compatible = "nordic,nrf-i2s";
	status = "okay";
	pinctrl-0 = <&i2s0_default>;
	pinctrl-1 = <&i2s0_sleep>;
	pinctrl-names = "default", "sleep";
};

&clock {
	hfclkaudio-frequency = <12288000>;
};

zephyr_udc0: &usbd {
	compatible = "nordic,nrf-usbd";
	status = "okay";
};

/* Include default memory partition configuration file */
#include <nordic/nrf5340_cpuapp_partition.dtsi>
```

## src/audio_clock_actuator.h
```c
/*
 * Copyright (c) 2025
 * SPDX-License-Identifier: Apache-2.0
 */

#ifndef AUDIO_CLOCK_ACTUATOR_H
#define AUDIO_CLOCK_ACTUATOR_H

#include <stdint.h>

/**
 * Initialize the clock actuator (production NONE; APLL is test-local history).
 * Returns 0 on success, negative errno on failure.
 */
int audio_clock_actuator_init(void);

/**
 * Apply a ppm correction to the clock.
 * Positive ppm = local clock too slow, speed it up.
 * Negative ppm = local clock too fast, slow it down.
 * Returns 0 on success, negative errno on failure.
 */
int audio_clock_actuator_apply_ppm(int32_t ppm);

/**
 * Reset the actuator to its default/center state.
 */
int audio_clock_actuator_reset(void);

#endif /* AUDIO_CLOCK_ACTUATOR_H */
```
